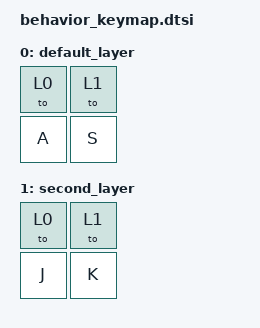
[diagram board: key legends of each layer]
#include <dt-bindings/zmk/keys.h>
#include <behaviors.dtsi>
#include <dt-bindings/zmk/kscan_mock.h>

/ {
    keymap {
        compatible = "zmk,keymap";

        default_layer {
            bindings = <
                &to 0  &to 1
                &kp A &kp S>;
        };

        second_layer {
            bindings = <
                &to 0 &to 1
                &kp J  &kp K>;
        };
    };
};
